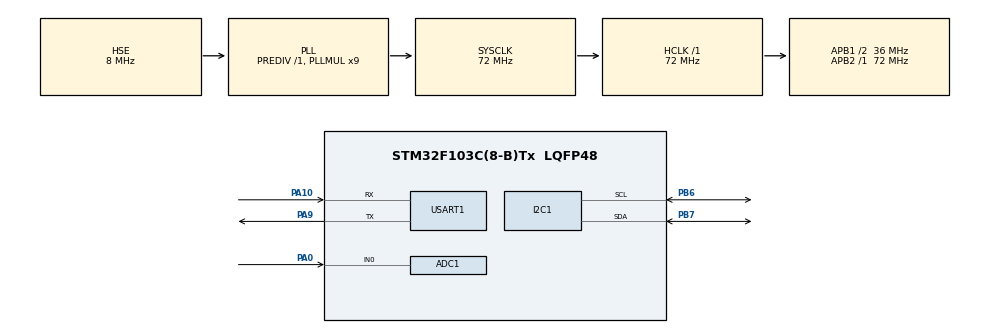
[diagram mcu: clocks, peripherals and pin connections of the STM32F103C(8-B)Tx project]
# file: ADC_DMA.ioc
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ADC1.Channel-1\#ChannelRegularConversion=ADC_CHANNEL_0
ADC1.ExternalTrigConv=ADC_EXTERNALTRIGCONV_T3_TRGO
ADC1.NbrOfConversion=1
ADC1.NbrOfConversionFlag=1
ADC1.Rank-1\#ChannelRegularConversion=1
ADC1.SamplingTime-1\#ChannelRegularConversion=ADC_SAMPLETIME_55CYCLES_5
ADC1.master=1
Dma.ADC1.0.Direction=DMA_PERIPH_TO_MEMORY
Dma.ADC1.0.Instance=DMA1_Channel1
Dma.ADC1.0.MemDataAlignment=DMA_MDATAALIGN_HALFWORD
Dma.ADC1.0.MemInc=DMA_MINC_ENABLE
Dma.ADC1.0.Mode=DMA_CIRCULAR
Dma.ADC1.0.PeriphDataAlignment=DMA_PDATAALIGN_HALFWORD
Dma.ADC1.0.PeriphInc=DMA_PINC_DISABLE
Dma.ADC1.0.Priority=DMA_PRIORITY_HIGH
Dma.Request0=ADC1
Dma.Request1=USART1_TX
Dma.Request2=USART1_RX
Dma.USART1_RX.2.Direction=DMA_PERIPH_TO_MEMORY
Dma.USART1_RX.2.Instance=DMA1_Channel5
Dma.USART1_RX.2.MemDataAlignment=DMA_MDATAALIGN_BYTE
Dma.USART1_RX.2.MemInc=DMA_MINC_ENABLE
Dma.USART1_RX.2.Mode=DMA_CIRCULAR
Dma.USART1_RX.2.PeriphDataAlignment=DMA_PDATAALIGN_BYTE
Dma.USART1_RX.2.PeriphInc=DMA_PINC_DISABLE
Dma.USART1_RX.2.Priority=DMA_PRIORITY_HIGH
Dma.USART1_TX.1.Direction=DMA_MEMORY_TO_PERIPH
Dma.USART1_TX.1.Instance=DMA1_Channel4
Dma.USART1_TX.1.MemDataAlignment=DMA_MDATAALIGN_BYTE
Dma.USART1_TX.1.MemInc=DMA_MINC_ENABLE
Dma.USART1_TX.1.Mode=DMA_NORMAL
Dma.USART1_TX.1.PeriphDataAlignment=DMA_PDATAALIGN_BYTE
Dma.USART1_TX.1.PeriphInc=DMA_PINC_DISABLE
Dma.USART1_TX.1.Priority=DMA_PRIORITY_HIGH
I2C1.I2C_Mode=I2C_Fast
Mcu.Family=STM32F1
Mcu.Name=STM32F103C(8-B)Tx
Mcu.Package=LQFP48
NVIC.DMA1_Channel1_IRQn=true\:0\:0\:false\:false\:true\:false\:true\:true
NVIC.DMA1_Channel4_IRQn=true\:0\:0\:false\:false\:true\:false\:true\:true
NVIC.DMA1_Channel5_IRQn=true\:0\:0\:false\:false\:true\:false\:true\:true
NVIC.PriorityGroup=NVIC_PRIORITYGROUP_4
NVIC.USART1_IRQn=true\:0\:0\:false\:false\:true\:true\:true\:true
PA0-WKUP.Signal=ADCx_IN0
PA10.Mode=Asynchronous
PA10.Signal=USART1_RX
PA13.Mode=Serial_Wire
PA13.Signal=SYS_JTMS-SWDIO
PA14.Mode=Serial_Wire
PA14.Signal=SYS_JTCK-SWCLK
PA9.Mode=Asynchronous
PA9.Signal=USART1_TX
PB6.Mode=I2C
PB6.Signal=I2C1_SCL
PB7.Mode=I2C
PB7.Signal=I2C1_SDA
PD0-OSC_IN.Mode=HSE-External-Oscillator
PD0-OSC_IN.Signal=RCC_OSC_IN
PD1-OSC_OUT.Mode=HSE-External-Oscillator
PD1-OSC_OUT.Signal=RCC_OSC_OUT
ProjectManager.HeapSize=0x200
ProjectManager.StackSize=0x400
ProjectManager.TargetToolchain=CMake
RCC.ADCPresc=RCC_ADCPCLK2_DIV6
RCC.AHBFreq_Value=72000000
RCC.APB1CLKDivider=RCC_HCLK_DIV2
RCC.APB1Freq_Value=36000000
RCC.APB1TimFreq_Value=72000000
RCC.APB2Freq_Value=72000000
RCC.APB2TimFreq_Value=72000000
RCC.HCLKFreq_Value=72000000
RCC.PLLMUL=RCC_PLL_MUL9
RCC.PLLSourceVirtual=RCC_PLLSOURCE_HSE
RCC.SYSCLKFreq_VALUE=72000000
RCC.SYSCLKSource=RCC_SYSCLKSOURCE_PLLCLK
RCC.USBFreq_Value=72000000
SH.ADCx_IN0.0=ADC1_IN0,IN0
TIM3.Period=10-1
TIM3.Prescaler=72-1
TIM3.TIM_MasterOutputTrigger=TIM_TRGO_UPDATE
USART1.VirtualMode=VM_ASYNC
VP_TIM3_VS_ClockSourceINT.Mode=Internal
board=custom

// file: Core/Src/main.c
/* USER CODE BEGIN Header */
/**
  ******************************************************************************
  * @file           : main.c
  * @brief          : Main program body
  ******************************************************************************
  * @attention
  *
  * Copyright (c) 2026 STMicroelectronics.
  * All rights reserved.
  *
  * This software is licensed under terms that can be found in the LICENSE file
  * in the root directory of this software component.
  * If no LICENSE file comes with this software, it is provided AS-IS.
  *
  ******************************************************************************
  */
/* USER CODE END Header */
#include "main.h"

/* USER CODE BEGIN Includes */
#include "ADC.h"
#include <stdint.h>
#include <stdio.h>
#include <string.h>
#include "OLED.h"
#include "USART.h"
#include "stdio.h"
#include "frame.h"
#include "app.h"
#include "stm32f1xx_hal.h"
/* USER CODE END Includes */

ADC_HandleTypeDef hadc1;
DMA_HandleTypeDef hdma_adc1;

I2C_HandleTypeDef hi2c1;

TIM_HandleTypeDef htim3;

UART_HandleTypeDef huart1;
DMA_HandleTypeDef hdma_usart1_tx;
DMA_HandleTypeDef hdma_usart1_rx;

void SystemClock_Config(void);
static void MX_GPIO_Init(void);
static void MX_DMA_Init(void);
static void MX_ADC1_Init(void);
static void MX_TIM3_Init(void);
static void MX_USART1_UART_Init(void);
static void MX_I2C1_Init(void);

int main(void)
{

  /* MCU Configuration--------------------------------------------------------*/

  /* Reset of all peripherals, Initializes the Flash interface and the Systick. */
  HAL_Init();

  /* Configure the system clock */
  SystemClock_Config();

  /* Initialize all configured peripherals */
  MX_GPIO_Init();
  MX_DMA_Init();
  MX_ADC1_Init();
  MX_TIM3_Init();
  MX_USART1_UART_Init();
  MX_I2C1_Init();
  /* USER CODE BEGIN 2 */
  HAL_TIM_Base_Start(&htim3);
  if(HAL_ADCEx_Calibration_Start(&hadc1) != HAL_OK)
  {
    Error_Handler();
  }
  if(HAL_ADC_Start_DMA(&hadc1, (uint32_t *)adc_dma_buff, ADC_BUFF_LEN) != HAL_OK)
  {
    Error_Handler();
  }

  usart_rx_arm();
  OLED_init();
  /* USER CODE END 2 */

  /* Infinite loop */
  /* USER CODE BEGIN WHILE */
  while (1)
  {
    app_poll();
    if(adc_err)
    {
      adc_err = 0;
      HAL_ADC_Stop_DMA(&hadc1);
      HAL_ADC_Start_DMA(&hadc1, (uint32_t *)adc_dma_buff, ADC_BUFF_LEN);
    }
    if(adc_half_ready)
    {
      const uint16_t *src;
      uint16_t *dst;
      uint8_t which;

      __disable_irq();
      which = adc_half_ready;
      adc_half_ready = 0;
      __enable_irq();

      if (which == 1u)
      {
          src = (const uint16_t *)&adc_dma_buff[0];
          dst = adc_frame_a;
      }
      else
      {
          src = (const uint16_t *)&adc_dma_buff[ADC_FRAME_LEN];
          dst = adc_frame_b;
      }

      memcpy(dst, src, ADC_FRAME_LEN * sizeof(uint16_t));
      process_frame(dst, ADC_FRAME_LEN);
    }
    /* USER CODE END WHILE */

  }
}

void SystemClock_Config(void)
{
  RCC_OscInitTypeDef RCC_OscInitStruct = {0};
  RCC_ClkInitTypeDef RCC_ClkInitStruct = {0};
  RCC_PeriphCLKInitTypeDef PeriphClkInit = {0};

  /** Initializes the RCC Oscillators according to the specified parameters
  * in the RCC_OscInitTypeDef structure.
  */
  RCC_OscInitStruct.OscillatorType = RCC_OSCILLATORTYPE_HSE;
  RCC_OscInitStruct.HSEState = RCC_HSE_ON;
  RCC_OscInitStruct.HSEPredivValue = RCC_HSE_PREDIV_DIV1;
  RCC_OscInitStruct.HSIState = RCC_HSI_ON;
  RCC_OscInitStruct.PLL.PLLState = RCC_PLL_ON;
  RCC_OscInitStruct.PLL.PLLSource = RCC_PLLSOURCE_HSE;
  RCC_OscInitStruct.PLL.PLLMUL = RCC_PLL_MUL9;
  if (HAL_RCC_OscConfig(&RCC_OscInitStruct) != HAL_OK)
  {
    Error_Handler();
  }

  /** Initializes the CPU, AHB and APB buses clocks
  */
  RCC_ClkInitStruct.ClockType = RCC_CLOCKTYPE_HCLK|RCC_CLOCKTYPE_SYSCLK
                              |RCC_CLOCKTYPE_PCLK1|RCC_CLOCKTYPE_PCLK2;
  RCC_ClkInitStruct.SYSCLKSource = RCC_SYSCLKSOURCE_PLLCLK;
  RCC_ClkInitStruct.AHBCLKDivider = RCC_SYSCLK_DIV1;
  RCC_ClkInitStruct.APB1CLKDivider = RCC_HCLK_DIV2;
  RCC_ClkInitStruct.APB2CLKDivider = RCC_HCLK_DIV1;

  if (HAL_RCC_ClockConfig(&RCC_ClkInitStruct, FLASH_LATENCY_2) != HAL_OK)
  {
    Error_Handler();
  }
  PeriphClkInit.PeriphClockSelection = RCC_PERIPHCLK_ADC;
  PeriphClkInit.AdcClockSelection = RCC_ADCPCLK2_DIV6;
  if (HAL_RCCEx_PeriphCLKConfig(&PeriphClkInit) != HAL_OK)
  {
    Error_Handler();
  }
}

static void MX_ADC1_Init(void)
{

  ADC_ChannelConfTypeDef sConfig = {0};

  /** Common config
  */
  hadc1.Instance = ADC1;
  hadc1.Init.ScanConvMode = ADC_SCAN_DISABLE;
  hadc1.Init.ContinuousConvMode = DISABLE;
  hadc1.Init.DiscontinuousConvMode = DISABLE;
  hadc1.Init.ExternalTrigConv = ADC_EXTERNALTRIGCONV_T3_TRGO;
  hadc1.Init.DataAlign = ADC_DATAALIGN_RIGHT;
  hadc1.Init.NbrOfConversion = 1;
  if (HAL_ADC_Init(&hadc1) != HAL_OK)
  {
    Error_Handler();
  }

  /** Configure Regular Channel
  */
  sConfig.Channel = ADC_CHANNEL_0;
  sConfig.Rank = ADC_REGULAR_RANK_1;
  sConfig.SamplingTime = ADC_SAMPLETIME_55CYCLES_5;
  if (HAL_ADC_ConfigChannel(&hadc1, &sConfig) != HAL_OK)
  {
    Error_Handler();
  }

}

static void MX_I2C1_Init(void)
{

  hi2c1.Instance = I2C1;
  hi2c1.Init.ClockSpeed = 400000;
  hi2c1.Init.DutyCycle = I2C_DUTYCYCLE_2;
  hi2c1.Init.OwnAddress1 = 0;
  hi2c1.Init.AddressingMode = I2C_ADDRESSINGMODE_7BIT;
  hi2c1.Init.DualAddressMode = I2C_DUALADDRESS_DISABLE;
  hi2c1.Init.OwnAddress2 = 0;
  hi2c1.Init.GeneralCallMode = I2C_GENERALCALL_DISABLE;
  hi2c1.Init.NoStretchMode = I2C_NOSTRETCH_DISABLE;
  if (HAL_I2C_Init(&hi2c1) != HAL_OK)
  {
    Error_Handler();
  }

}

static void MX_TIM3_Init(void)
{

  TIM_ClockConfigTypeDef sClockSourceConfig = {0};
  TIM_MasterConfigTypeDef sMasterConfig = {0};

  htim3.Instance = TIM3;
  htim3.Init.Prescaler = 72-1;
  htim3.Init.CounterMode = TIM_COUNTERMODE_UP;
  htim3.Init.Period = 10-1;
  htim3.Init.ClockDivision = TIM_CLOCKDIVISION_DIV1;
  htim3.Init.AutoReloadPreload = TIM_AUTORELOAD_PRELOAD_DISABLE;
  if (HAL_TIM_Base_Init(&htim3) != HAL_OK)
  {
    Error_Handler();
  }
  sClockSourceConfig.ClockSource = TIM_CLOCKSOURCE_INTERNAL;
  if (HAL_TIM_ConfigClockSource(&htim3, &sClockSourceConfig) != HAL_OK)
  {
    Error_Handler();
  }
  sMasterConfig.MasterOutputTrigger = TIM_TRGO_UPDATE;
  sMasterConfig.MasterSlaveMode = TIM_MASTERSLAVEMODE_DISABLE;
  if (HAL_TIMEx_MasterConfigSynchronization(&htim3, &sMasterConfig) != HAL_OK)
  {
    Error_Handler();
  }

}

static void MX_USART1_UART_Init(void)
{

  huart1.Instance = USART1;
  huart1.Init.BaudRate = 115200;
  huart1.Init.WordLength = UART_WORDLENGTH_8B;
  huart1.Init.StopBits = UART_STOPBITS_1;
  huart1.Init.Parity = UART_PARITY_NONE;
  huart1.Init.Mode = UART_MODE_TX_RX;
  huart1.Init.HwFlowCtl = UART_HWCONTROL_NONE;
  huart1.Init.OverSampling = UART_OVERSAMPLING_16;
  if (HAL_UART_Init(&huart1) != HAL_OK)
  {
    Error_Handler();
  }

}

static void MX_DMA_Init(void)
{

  /* DMA controller clock enable */
  __HAL_RCC_DMA1_CLK_ENABLE();

  /* DMA interrupt init */
  /* DMA1_Channel1_IRQn interrupt configuration */
  HAL_NVIC_SetPriority(DMA1_Channel1_IRQn, 0, 0);
  HAL_NVIC_EnableIRQ(DMA1_Channel1_IRQn);
  /* DMA1_Channel4_IRQn interrupt configuration */
  HAL_NVIC_SetPriority(DMA1_Channel4_IRQn, 0, 0);
  HAL_NVIC_EnableIRQ(DMA1_Channel4_IRQn);
  /* DMA1_Channel5_IRQn interrupt configuration */
  HAL_NVIC_SetPriority(DMA1_Channel5_IRQn, 0, 0);
  HAL_NVIC_EnableIRQ(DMA1_Channel5_IRQn);

}

static void MX_GPIO_Init(void)
{

  /* GPIO Ports Clock Enable */
  __HAL_RCC_GPIOD_CLK_ENABLE();
  __HAL_RCC_GPIOA_CLK_ENABLE();
  __HAL_RCC_GPIOB_CLK_ENABLE();

}

void Error_Handler(void)
{
  __disable_irq();
  while (1)
  {
  }
}
